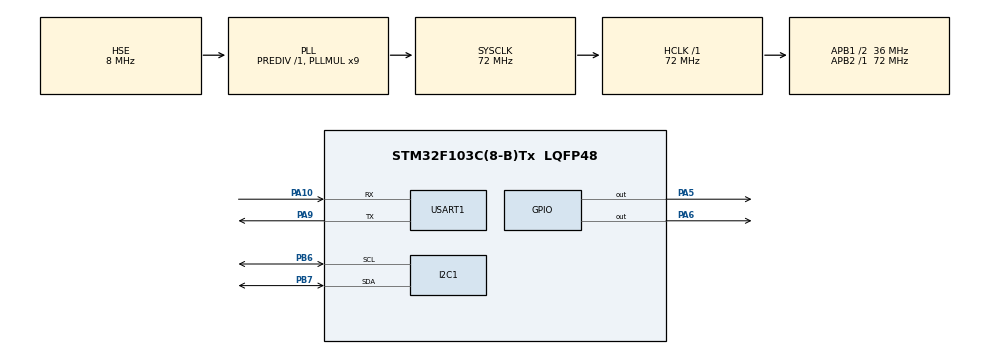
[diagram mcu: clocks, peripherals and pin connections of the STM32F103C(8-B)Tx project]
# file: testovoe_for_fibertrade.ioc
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Mcu.Family=STM32F1
Mcu.Name=STM32F103C(8-B)Tx
Mcu.Package=LQFP48
NVIC.PriorityGroup=NVIC_PRIORITYGROUP_4
PA10.Mode=Asynchronous
PA10.Signal=USART1_RX
PA13.Mode=Serial_Wire
PA13.Signal=SYS_JTMS-SWDIO
PA14.Mode=Serial_Wire
PA14.Signal=SYS_JTCK-SWCLK
PA5.Signal=GPIO_Output
PA6.Signal=GPIO_Output
PA9.Mode=Asynchronous
PA9.Signal=USART1_TX
PB6.Mode=I2C
PB6.Signal=I2C1_SCL
PB7.Mode=I2C
PB7.Signal=I2C1_SDA
PD0-OSC_IN.Mode=HSE-External-Oscillator
PD0-OSC_IN.Signal=RCC_OSC_IN
PD1-OSC_OUT.Mode=HSE-External-Oscillator
PD1-OSC_OUT.Signal=RCC_OSC_OUT
ProjectManager.HeapSize=0x200
ProjectManager.StackSize=0x400
ProjectManager.TargetToolchain=STM32CubeIDE
RCC.AHBFreq_Value=72000000
RCC.APB1CLKDivider=RCC_HCLK_DIV2
RCC.APB1Freq_Value=36000000
RCC.APB1TimFreq_Value=72000000
RCC.APB2Freq_Value=72000000
RCC.APB2TimFreq_Value=72000000
RCC.HCLKFreq_Value=72000000
RCC.PLLMUL=RCC_PLL_MUL9
RCC.PLLSourceVirtual=RCC_PLLSOURCE_HSE
RCC.SYSCLKFreq_VALUE=72000000
RCC.SYSCLKSource=RCC_SYSCLKSOURCE_PLLCLK
RCC.USBFreq_Value=72000000
USART1.VirtualMode=VM_ASYNC
board=custom

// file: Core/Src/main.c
/* USER CODE BEGIN Header */
/**
  ******************************************************************************
  * @file           : main.c
  * @brief          : Main program body
  ******************************************************************************
  * @attention
  *
  * Copyright (c) 2025 STMicroelectronics.
  * All rights reserved.
  *
  * This software is licensed under terms that can be found in the LICENSE file
  * in the root directory of this software component.
  * If no LICENSE file comes with this software, it is provided AS-IS.
  *
  ******************************************************************************
  */
/* USER CODE END Header */
#include "main.h"

/* USER CODE BEGIN Includes */
#include "stm32f10x,h"
#include <string.h>
#include <stdio.h>
/* USER CODE END Includes */

/* USER CODE BEGIN PD */
#define LED1_PIN GPIO_Pin_13
#define LED1_PORT GPIOC

#define LED2_PIN GPIO_Pin_14
#define LED2_PORT GPIOC

#define I2C_SLAVE_ADDRESS 0xA0
#define I2C_MEM_ADDRESS 0x00
#define I2C_DATA_SIZE 128

#define UART_BUFFER_SIZE 128
/* USER CODE END PD */

I2C_HandleTypeDef hi2c1;

UART_HandleTypeDef huart1;

void SystemClock_Config(void);
static void MX_GPIO_Init(void);
static void MX_I2C1_Init(void);
static void MX_USART1_UART_Init(void);
/* USER CODE BEGIN PFP */
void PWM_Init(void);
void ProcessCommand(char *cmd);
void I2C_ReadData(uint8_t slave_addr, uint8_t mem_addr, uint8_t *data, uint8_t size);
void UART_SendString(char *str);
/* USER CODE END PFP */

/* USER CODE BEGIN 0 */
char uart_buffer[UART_BUFFER_SIZE];
uint8_t uart_buffer_index = 0;

/* USER CODE END 0 */

int main(void)
{

  /* MCU Configuration--------------------------------------------------------*/

  /* Reset of all peripherals, Initializes the Flash interface and the Systick. */
  HAL_Init();

  /* USER CODE BEGIN Init */
  PWM_Init();
  /* USER CODE END Init */

  /* Configure the system clock */
  SystemClock_Config();

  /* Initialize all configured peripherals */
  MX_GPIO_Init();
  MX_I2C1_Init();
  MX_USART1_UART_Init();
  /* USER CODE BEGIN 2 */
  GPIO_SetBits(LED1_PORT, LED1_PIN);  // LED1 off (active low level)
  TIM_SetCompare1(TIM1, 0);           // LED2 off (PWM 0%)

  UART_SendString("STM32F103CBT6 UART Control Ready\r\n");
  UART_SendString("Commands: led1 on/off, led2 on/off, read i2c\r\n");
  /* USER CODE END 2 */

  /* Infinite loop */
  while (1)
  {

  }
}

void SystemClock_Config(void)
{
  RCC_OscInitTypeDef RCC_OscInitStruct = {0};
  RCC_ClkInitTypeDef RCC_ClkInitStruct = {0};

  /** Initializes the RCC Oscillators according to the specified parameters
  * in the RCC_OscInitTypeDef structure.
  */
  RCC_OscInitStruct.OscillatorType = RCC_OSCILLATORTYPE_HSE;
  RCC_OscInitStruct.HSEState = RCC_HSE_ON;
  RCC_OscInitStruct.HSEPredivValue = RCC_HSE_PREDIV_DIV1;
  RCC_OscInitStruct.HSIState = RCC_HSI_ON;
  RCC_OscInitStruct.PLL.PLLState = RCC_PLL_ON;
  RCC_OscInitStruct.PLL.PLLSource = RCC_PLLSOURCE_HSE;
  RCC_OscInitStruct.PLL.PLLMUL = RCC_PLL_MUL9;
  if (HAL_RCC_OscConfig(&RCC_OscInitStruct) != HAL_OK)
  {
    Error_Handler();
  }

  /** Initializes the CPU, AHB and APB buses clocks
  */
  RCC_ClkInitStruct.ClockType = RCC_CLOCKTYPE_HCLK|RCC_CLOCKTYPE_SYSCLK
                              |RCC_CLOCKTYPE_PCLK1|RCC_CLOCKTYPE_PCLK2;
  RCC_ClkInitStruct.SYSCLKSource = RCC_SYSCLKSOURCE_PLLCLK;
  RCC_ClkInitStruct.AHBCLKDivider = RCC_SYSCLK_DIV1;
  RCC_ClkInitStruct.APB1CLKDivider = RCC_HCLK_DIV2;
  RCC_ClkInitStruct.APB2CLKDivider = RCC_HCLK_DIV1;

  if (HAL_RCC_ClockConfig(&RCC_ClkInitStruct, FLASH_LATENCY_2) != HAL_OK)
  {
    Error_Handler();
  }
}

static void MX_I2C1_Init(void)
{

  hi2c1.Instance = I2C1;
  hi2c1.Init.ClockSpeed = 100000;
  hi2c1.Init.DutyCycle = I2C_DUTYCYCLE_2;
  hi2c1.Init.OwnAddress1 = 0;
  hi2c1.Init.AddressingMode = I2C_ADDRESSINGMODE_7BIT;
  hi2c1.Init.DualAddressMode = I2C_DUALADDRESS_DISABLE;
  hi2c1.Init.OwnAddress2 = 0;
  hi2c1.Init.GeneralCallMode = I2C_GENERALCALL_DISABLE;
  hi2c1.Init.NoStretchMode = I2C_NOSTRETCH_DISABLE;
  if (HAL_I2C_Init(&hi2c1) != HAL_OK)
  {
    Error_Handler();
  }

}

static void MX_USART1_UART_Init(void)
{

  huart1.Instance = USART1;
  huart1.Init.BaudRate = 115200;
  huart1.Init.WordLength = UART_WORDLENGTH_8B;
  huart1.Init.StopBits = UART_STOPBITS_1;
  huart1.Init.Parity = UART_PARITY_NONE;
  huart1.Init.Mode = UART_MODE_TX_RX;
  huart1.Init.HwFlowCtl = UART_HWCONTROL_NONE;
  huart1.Init.OverSampling = UART_OVERSAMPLING_16;
  if (HAL_UART_Init(&huart1) != HAL_OK)
  {
    Error_Handler();
  }

}

static void MX_GPIO_Init(void)
{
  GPIO_InitTypeDef GPIO_InitStruct = {0};

  /* GPIO Ports Clock Enable */
  __HAL_RCC_GPIOD_CLK_ENABLE();
  __HAL_RCC_GPIOA_CLK_ENABLE();
  __HAL_RCC_GPIOB_CLK_ENABLE();

  /*Configure GPIO pin Output Level */
  HAL_GPIO_WritePin(GPIOA, GPIO_PIN_5|GPIO_PIN_6, GPIO_PIN_RESET);

  /*Configure GPIO pins : PA5 PA6 */
  GPIO_InitStruct.Pin = GPIO_PIN_5|GPIO_PIN_6;
  GPIO_InitStruct.Mode = GPIO_MODE_OUTPUT_PP;
  GPIO_InitStruct.Pull = GPIO_NOPULL;
  GPIO_InitStruct.Speed = GPIO_SPEED_FREQ_LOW;
  HAL_GPIO_Init(GPIOA, &GPIO_InitStruct);

}

/* USER CODE BEGIN 4 */
void PWM_Init(void)
{
    TIM_TimeBaseInitTypeDef TIM_TimeBaseStruct;
    TIM_OCInitTypeDef TIM_OCInitStruct;

    RCC_APB2PeriphClockCmd(RCC_APB2Periph_TIM1, ENABLE);

    // Настройка таймера (1 kHz PWM)
    TIM_TimeBaseStruct.TIM_Period = 999;
    TIM_TimeBaseStruct.TIM_Prescaler = 71;
    TIM_TimeBaseStruct.TIM_ClockDivision = 0;
    TIM_TimeBaseStruct.TIM_CounterMode = TIM_CounterMode_Up;
    TIM_TimeBaseInit(TIM1, &TIM_TimeBaseStruct);

    // Настройка канала PWM
    TIM_OCInitStruct.TIM_OCMode = TIM_OCMode_PWM1;
    TIM_OCInitStruct.TIM_OutputState = TIM_OutputState_Enable;
    TIM_OCInitStruct.TIM_OutputNState = TIM_OutputNState_Disable;
    TIM_OCInitStruct.TIM_Pulse = 0;
    TIM_OCInitStruct.TIM_OCPolarity = TIM_OCPolarity_High;
    TIM_OCInitStruct.TIM_OCNPolarity = TIM_OCNPolarity_High;
    TIM_OCInitStruct.TIM_OCIdleState = TIM_OCIdleState_Reset;
    TIM_OCInitStruct.TIM_OCNIdleState = TIM_OCNIdleState_Reset;
    TIM_OC1Init(TIM1, &TIM_OCInitStruct);

    TIM_CtrlPWMOutputs(TIM1, ENABLE);
    TIM_Cmd(TIM1, ENABLE);
}
void ProcessCommand(char *cmd)
{
    char response[50];
    uint8_t i2c_data[I2C_DATA_SIZE];
    char hex_str[4];

    if (strcmp(cmd, "led1 on") == 0)
    {
        GPIO_ResetBits(LED1_PORT, LED1_PIN);
        UART_SendString("LED1 ON\r\n");
    }
    else if (strcmp(cmd, "led1 off") == 0)
    {
        GPIO_SetBits(LED1_PORT, LED1_PIN);
        UART_SendString("LED1 OFF\r\n");
    }
    else if (strcmp(cmd, "led2 on") == 0)
    {
        TIM_SetCompare1(TIM1, 500); // 50% duty cycle
        UART_SendString("LED2 ON (PWM 50%)\r\n");
    }
    else if (strcmp(cmd, "led2 off") == 0)
    {
        TIM_SetCompare1(TIM1, 0);
        UART_SendString("LED2 OFF\r\n");
    }
    else if (strcmp(cmd, "read i2c") == 0)
    {
        UART_SendString("Reading I2C data...\r\n");
        I2C_ReadData(I2C_SLAVE_ADDRESS, I2C_MEM_ADDRESS, i2c_data, I2C_DATA_SIZE);

        UART_SendString("I2C Data:\r\n");
        for (int i = 0; i < I2C_DATA_SIZE; i++)
        {
            sprintf(hex_str, "%02X ", i2c_data[i]);
            UART_SendString(hex_str);

            if ((i + 1) % 16 == 0)
                UART_SendString("\r\n");
        }
        UART_SendString("\r\n");
    }
    else
    {
        sprintf(response, "Unknown command: %s\r\n", cmd);
        UART_SendString(response);
    }
}

void I2C_ReadData(uint8_t slave_addr, uint8_t mem_addr, uint8_t *data, uint8_t size)
{
    while (I2C_GetFlagStatus(I2C1, I2C_FLAG_BUSY));

    // Старт условие
    I2C_GenerateSTART(I2C1, ENABLE);
    while (!I2C_CheckEvent(I2C1, I2C_EVENT_MASTER_MODE_SELECT));

    // Отправка адреса устройства + запись
    I2C_Send7bitAddress(I2C1, slave_addr, I2C_Direction_Transmitter);
    while (!I2C_CheckEvent(I2C1, I2C_EVENT_MASTER_TRANSMITTER_MODE_SELECTED));

    // Отправка адреса памяти
    I2C_SendData(I2C1, mem_addr);
    while (!I2C_CheckEvent(I2C1, I2C_EVENT_MASTER_BYTE_TRANSMITTED));

    // Повторный старт
    I2C_GenerateSTART(I2C1, ENABLE);
    while (!I2C_CheckEvent(I2C1, I2C_EVENT_MASTER_MODE_SELECT));

    // Отправка адреса устройства + чтение
    I2C_Send7bitAddress(I2C1, slave_addr, I2C_Direction_Receiver);
    while (!I2C_CheckEvent(I2C1, I2C_EVENT_MASTER_RECEIVER_MODE_SELECTED));

    // Чтение данных
    for (int i = 0; i < size; i++)
    {
        if (i == size - 1)
            I2C_AcknowledgeConfig(I2C1, DISABLE);

        while (!I2C_CheckEvent(I2C1, I2C_EVENT_MASTER_BYTE_RECEIVED));
        data[i] = I2C_ReceiveData(I2C1);
    }

    // Стоп условие
    I2C_GenerateSTOP(I2C1, ENABLE);
    I2C_AcknowledgeConfig(I2C1, ENABLE);
}

// Отправка строки по UART
void UART_SendString(char *str)
{
    while (*str)
    {
        while (!USART_GetFlagStatus(USART1, USART_FLAG_TXE));
        USART_SendData(USART1, *str++);
    }
}

// Обработчик прерывания UART1
void USART1_IRQHandler(void)
{
    if (USART_GetITStatus(USART1, USART_IT_RXNE) != RESET)
    {
        char received_char = USART_ReceiveData(USART1);

        if (received_char == '\r' || received_char == '\n')
        {
            if (uart_buffer_index > 0)
            {
                uart_buffer[uart_buffer_index] = '\0';
                ProcessCommand(uart_buffer);
                uart_buffer_index = 0;
            }
        }
        else if (uart_buffer_index < UART_BUFFER_SIZE - 1)
        {
            uart_buffer[uart_buffer_index++] = received_char;
        }

        USART_ClearITPendingBit(USART1, USART_IT_RXNE);
    }
}
/* USER CODE END 4 */

void Error_Handler(void)
{
  __disable_irq();
  while (1)
  {
  }
}
